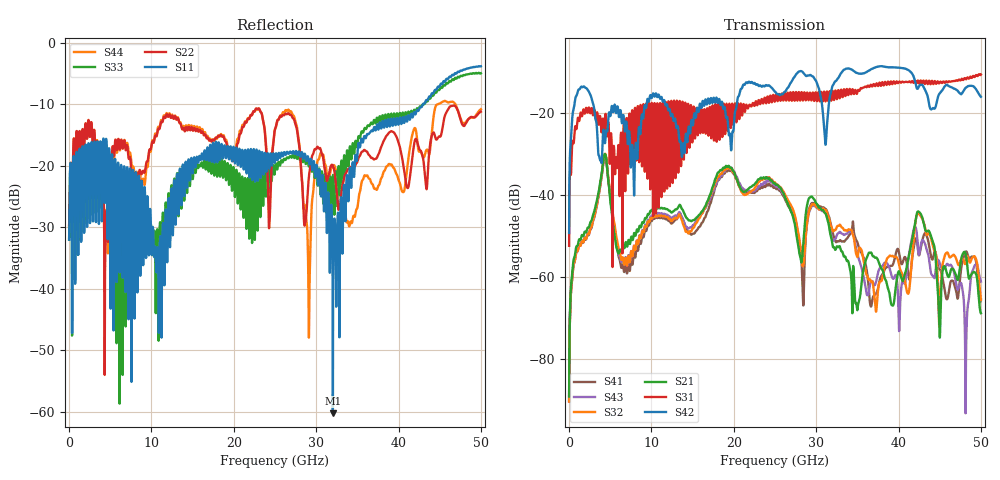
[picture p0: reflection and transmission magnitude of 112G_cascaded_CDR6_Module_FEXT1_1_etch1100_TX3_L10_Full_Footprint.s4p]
! Created Tue Feb 26 13:30:01 2019
# hz S ma R 50
! 4 Port Network Data from SP1.SP block
! freq  magS11  angS11  magS12  angS12  magS13  angS13  magS14  angS14
!  magS21  angS21  magS22  angS22  magS23  angS23  magS24  angS24
!  magS31  angS31  magS32  angS32  magS33  angS33  magS34  angS34
!  magS41  angS41  magS42  angS42  magS43  angS43  magS44  angS44
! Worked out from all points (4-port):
!   5000 points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, 10 MHz to 50 GHz, reference 50 ohm
!   strongest paths, dB at 10 MHz, 12.51 GHz, 25.01 GHz, 37.51 GHz, 50 GHz:
!     S42: -49.3, -20.3, -14.9, -8.8, -16.1
!     S31: -52.4, -21.3, -17.1, -13.5, -10.7
!     S21: -89.0, -44.2, -37.2, -55.9, -68.7
!     S32: -90.2, -46.2, -37.0, -63.3, -65.5
!     S43: -90.1, -45.6, -37.6, -59.0, -61.1
!     S41: -90.2, -46.9, -38.2, -62.8, -65.4
!   lowest |S11| = -60.3 dB at 32.03 GHz (marker M1), VSWR 1.00, Z = 50.1 + j0.0699 ohm
!   |S11| at or under -10 dB: start of sweep to 42.99 GHz
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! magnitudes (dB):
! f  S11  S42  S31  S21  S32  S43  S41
! 10 MHz  -32.0  -49.3  -52.4  -89.0  -90.2  -90.1  -90.2
! 1.25 GHz  -17.7  -14.3  -22.0  -50.8  -52.1  -52.0  -52.2
! 4.34 GHz  -26.1  -27.2  -22.7  -30.1  -30.1  -30.2  -30.3
! 6.85 GHz  -33.3  -23.4  -32.3  -51.7  -55.4  -55.2  -56.9
! 19.51 GHz  -18.0  -25.0  -18.5  -33.3  -33.6  -33.5  -34.1
! 32.03 GHz  -60.3  -13.4  -14.8  -52.6  -48.8  -51.1  -49.4
! 50 GHz  -3.9  -16.1  -10.7  -68.7  -65.5  -61.1  -65.4
